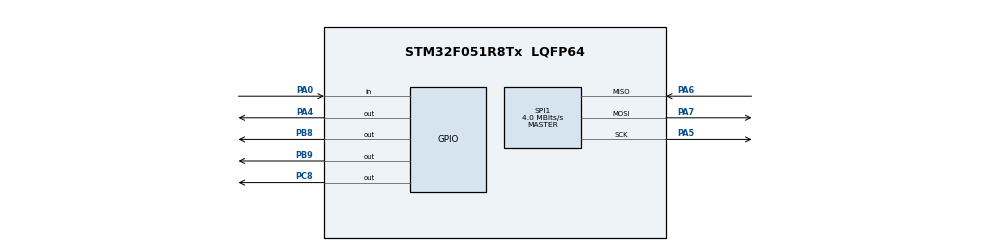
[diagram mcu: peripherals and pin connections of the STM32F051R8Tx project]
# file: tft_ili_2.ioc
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Dma.Request0=SPI1_TX
Dma.SPI1_TX.0.Direction=DMA_MEMORY_TO_PERIPH
Dma.SPI1_TX.0.Instance=DMA1_Channel3
Dma.SPI1_TX.0.MemDataAlignment=DMA_MDATAALIGN_BYTE
Dma.SPI1_TX.0.MemInc=DMA_MINC_ENABLE
Dma.SPI1_TX.0.Mode=DMA_NORMAL
Dma.SPI1_TX.0.PeriphDataAlignment=DMA_PDATAALIGN_BYTE
Dma.SPI1_TX.0.PeriphInc=DMA_PINC_DISABLE
Dma.SPI1_TX.0.Priority=DMA_PRIORITY_LOW
Mcu.Family=STM32F0
Mcu.Name=STM32F051R8Tx
Mcu.Package=LQFP64
NVIC.DMA1_Channel2_3_IRQn=true\:0\:0\:false\:false\:true\:false\:true\:true
NVIC.SPI1_IRQn=true\:0\:0\:false\:false\:true\:true\:true\:true
PA0.GPIO_PuPd=GPIO_PULLDOWN
PA0.Signal=GPIO_Input
PA13.Mode=Serial_Wire
PA13.Signal=SYS_SWDIO
PA14.Mode=Serial_Wire
PA14.Signal=SYS_SWCLK
PA4.Signal=GPIO_Output
PA5.Mode=Full_Duplex_Master
PA5.Signal=SPI1_SCK
PA6.Mode=Full_Duplex_Master
PA6.Signal=SPI1_MISO
PA7.Mode=Full_Duplex_Master
PA7.Signal=SPI1_MOSI
PB8.Signal=GPIO_Output
PB9.Signal=GPIO_Output
PC8.Signal=GPIO_Output
ProjectManager.HeapSize=0x200
ProjectManager.StackSize=0x400
ProjectManager.TargetToolchain=STM32CubeIDE
SPI1.CalculateBaudRate=4.0 MBits/s
SPI1.DataSize=SPI_DATASIZE_8BIT
SPI1.Direction=SPI_DIRECTION_2LINES
SPI1.Mode=SPI_MODE_MASTER
SPI1.VirtualType=VM_MASTER
board=custom

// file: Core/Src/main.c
/* USER CODE BEGIN Header */
/**
  ******************************************************************************
  * @file           : main.c
  * @brief          : Main program body
  ******************************************************************************
  * @attention
  *
  * Copyright (c) 2024 STMicroelectronics.
  * All rights reserved.
  *
  * This software is licensed under terms that can be found in the LICENSE file
  * in the root directory of this software component.
  * If no LICENSE file comes with this software, it is provided AS-IS.
  *
  ******************************************************************************
  */
/* USER CODE END Header */
#include "main.h"

/* USER CODE BEGIN Includes */
#include "ili9341.h"
#include "fonts.h"
#include "testimg.h"
/* USER CODE END Includes */

SPI_HandleTypeDef hspi1;
DMA_HandleTypeDef hdma_spi1_tx;

void SystemClock_Config(void);
static void MX_GPIO_Init(void);
static void MX_DMA_Init(void);
static void MX_SPI1_Init(void);

int main(void)
{

  /* MCU Configuration--------------------------------------------------------*/

  /* Reset of all peripherals, Initializes the Flash interface and the Systick. */
  HAL_Init();

  /* USER CODE BEGIN Init */
  void greeting_init() {
	  ILI9341_FillScreen(ILI9341_BLACK);

	        for(int x = 0; x < ILI9341_WIDTH; x++) {
	            ILI9341_DrawPixel(x, 0, ILI9341_RED);
	            ILI9341_DrawPixel(x, ILI9341_HEIGHT-1, ILI9341_RED);
	        }

	        for(int y = 0; y < ILI9341_HEIGHT; y++) {
	            ILI9341_DrawPixel(0, y, ILI9341_RED);
	            ILI9341_DrawPixel(ILI9341_WIDTH-1, y, ILI9341_RED);
	        }

	        HAL_Delay(500);

	        ILI9341_WriteString(2, 72, "Press the button to see variants", Font_7x10, ILI9341_GREEN, ILI9341_BLACK);
  }

  void init() {
      ILI9341_Unselect();
  //    ILI9341_TouchUnselect();
      ILI9341_Init();

      greeting_init();
  }

  void loop() {
    /*  if(HAL_SPI_DeInit(&hspi1) != HAL_OK) {
     //     UART_Printf("HAL_SPI_DeInit failed!\r\n");
          return;
      }

      hspi1.Init.BaudRatePrescaler = SPI_BAUDRATEPRESCALER_2;

      if(HAL_SPI_Init(&hspi1) != HAL_OK) {
       //   UART_Printf("HAL_SPI_Init failed!\r\n");
          return;
      }*/

      // Check border
      ILI9341_FillScreen(ILI9341_BLACK);

      for(int x = 0; x < ILI9341_WIDTH; x++) {
          ILI9341_DrawPixel(x, 0, ILI9341_RED);
          ILI9341_DrawPixel(x, ILI9341_HEIGHT-1, ILI9341_RED);
      }

      for(int y = 0; y < ILI9341_HEIGHT; y++) {
          ILI9341_DrawPixel(0, y, ILI9341_RED);
          ILI9341_DrawPixel(ILI9341_WIDTH-1, y, ILI9341_RED);
      }

      HAL_Delay(500);

      ILI9341_WriteString(2, 76, "Press the button to see all images", Font_7x10, ILI9341_GREEN, ILI9341_BLACK);

      HAL_Delay(3000);

      // Check fonts
      ILI9341_FillScreen(ILI9341_BLACK);
      ILI9341_WriteString(0, 0, "Font_7x10, red on black, lorem ipsum dolor sit amet", Font_7x10, ILI9341_RED, ILI9341_BLACK);
      ILI9341_WriteString(0, 3*10, "Font_11x18, green, lorem ipsum dolor sit amet", Font_11x18, ILI9341_GREEN, ILI9341_BLACK);
      ILI9341_WriteString(0, 3*10+3*18, "Font_16x26, blue, lorem ipsum dolor sit amet", Font_16x26, ILI9341_BLUE, ILI9341_BLACK);

      HAL_Delay(1000);
      ILI9341_InvertColors(true);
      HAL_Delay(1000);
      ILI9341_InvertColors(false);

      HAL_Delay(5000);

      // Check colors
      ILI9341_FillScreen(ILI9341_WHITE);
      ILI9341_WriteString(0, 20, "WHITE", Font_11x18, ILI9341_BLACK, ILI9341_RED);
      HAL_Delay(500);

      ILI9341_FillScreen(ILI9341_BLUE);
      ILI9341_WriteString(0, 0, "BLUE", Font_11x18, ILI9341_BLACK, ILI9341_BLUE);
      HAL_Delay(500);

      ILI9341_FillScreen(ILI9341_RED);
      ILI9341_WriteString(0, 0, "RED", Font_11x18, ILI9341_BLACK, ILI9341_RED);
      HAL_Delay(500);

      ILI9341_FillScreen(ILI9341_GREEN);
      ILI9341_WriteString(0, 0, "GREEN", Font_11x18, ILI9341_BLACK, ILI9341_GREEN);
      HAL_Delay(500);

      ILI9341_FillScreen(ILI9341_CYAN);
      ILI9341_WriteString(0, 0, "CYAN", Font_11x18, ILI9341_BLACK, ILI9341_CYAN);
      HAL_Delay(500);

      ILI9341_FillScreen(ILI9341_MAGENTA);
      ILI9341_WriteString(0, 0, "MAGENTA", Font_11x18, ILI9341_BLACK, ILI9341_MAGENTA);
      HAL_Delay(500);

      ILI9341_FillScreen(ILI9341_YELLOW);
      ILI9341_WriteString(0, 0, "YELLOW", Font_11x18, ILI9341_BLACK, ILI9341_YELLOW);
      HAL_Delay(500);

      ILI9341_FillScreen(ILI9341_BLACK);
      ILI9341_WriteString(0, 0, "BLACK", Font_11x18, ILI9341_WHITE, ILI9341_BLACK);
      HAL_Delay(500);

      ILI9341_DrawImage((ILI9341_WIDTH - 120) / 2, (ILI9341_HEIGHT - 64) / 2, 120, 60, (const uint16_t*)test_img_240x240);

      HAL_Delay(5000);

      ILI9341_FillScreen(ILI9341_BLACK);
      ILI9341_WriteString(0, 0, "Touchpad test.  Draw something!", Font_11x18, ILI9341_WHITE, ILI9341_BLACK);
      HAL_Delay(1000);
      ILI9341_FillScreen(ILI9341_BLACK);

   /*   if(HAL_SPI_DeInit(&hspi1) != HAL_OK) {
     //     UART_Printf("HAL_SPI_DeInit failed!\r\n");
          return;
      }*/

      hspi1.Init.BaudRatePrescaler = SPI_BAUDRATEPRESCALER_128;

     /* if(HAL_SPI_Init(&hspi1) != HAL_OK) {
       //   UART_Printf("HAL_SPI_Init failed!\r\n");
          return;
      }*/

    //  int npoints = 0;
     /* while(npoints < 10000) {
          uint16_t x, y;

       /*   if(ILI9341_TouchGetCoordinates(&x, &y))
          {
              ILI9341_DrawPixel(x, 320-y, ILI9341_WHITE);
              npoints++;
          }

      }*/
  }
  /* USER CODE END Init */

  /* Configure the system clock */
  SystemClock_Config();

  /* Initialize all configured peripherals */
  MX_GPIO_Init();
  MX_DMA_Init();
  MX_SPI1_Init();
  /* USER CODE BEGIN 2 */
  init();

  void handler_click(int num) {
	  switch ( num ) {
	  case 1:
	    // Check fonts
        ILI9341_FillScreen(ILI9341_BLACK);
        ILI9341_WriteString(0, 0, "Font_7x10, red on black, lorem ipsum dolor sit amet", Font_7x10, ILI9341_RED, ILI9341_BLACK);
        ILI9341_WriteString(0, 3*10, "Font_11x18, green, lorem ipsum dolor sit amet", Font_11x18, ILI9341_GREEN, ILI9341_BLACK);
        ILI9341_WriteString(0, 3*10+3*18, "Font_16x26, blue, lorem ipsum dolor sit amet", Font_16x26, ILI9341_BLUE, ILI9341_BLACK);

        HAL_Delay(1000);
        ILI9341_InvertColors(true);
        HAL_Delay(1000);
        ILI9341_InvertColors(false);
	    break;
	  case 2:
	    // Check colors
        ILI9341_FillScreen(ILI9341_WHITE);
        ILI9341_WriteString(0, 20, "WHITE", Font_11x18, ILI9341_BLACK, ILI9341_RED);
        HAL_Delay(500);

        ILI9341_FillScreen(ILI9341_BLUE);
        ILI9341_WriteString(0, 0, "BLUE", Font_11x18, ILI9341_BLACK, ILI9341_BLUE);
        HAL_Delay(500);

        ILI9341_FillScreen(ILI9341_RED);
        ILI9341_WriteString(0, 0, "RED", Font_11x18, ILI9341_BLACK, ILI9341_RED);
        HAL_Delay(500);

        ILI9341_FillScreen(ILI9341_GREEN);
        ILI9341_WriteString(0, 0, "GREEN", Font_11x18, ILI9341_BLACK, ILI9341_GREEN);
        HAL_Delay(500);

        ILI9341_FillScreen(ILI9341_CYAN);
        ILI9341_WriteString(0, 0, "CYAN", Font_11x18, ILI9341_BLACK, ILI9341_CYAN);
        HAL_Delay(500);

        ILI9341_FillScreen(ILI9341_MAGENTA);
        ILI9341_WriteString(0, 0, "MAGENTA", Font_11x18, ILI9341_BLACK, ILI9341_MAGENTA);
        HAL_Delay(500);

        ILI9341_FillScreen(ILI9341_YELLOW);
        ILI9341_WriteString(0, 0, "YELLOW", Font_11x18, ILI9341_BLACK, ILI9341_YELLOW);
        HAL_Delay(500);

        ILI9341_FillScreen(ILI9341_BLACK);
        ILI9341_WriteString(0, 0, "BLACK", Font_11x18, ILI9341_WHITE, ILI9341_BLACK);
        HAL_Delay(500);
	    break;
	  case 3:
	    // Check image
		ILI9341_FillScreen(ILI9341_BLACK);
		ILI9341_DrawImage((ILI9341_WIDTH - 120) / 2, (ILI9341_HEIGHT - 64) / 2, 120, 60, (const uint16_t*)test_img_240x240);
		HAL_Delay(500);
	    break;
	  }
    }
  /* USER CODE END 2 */

  /* Infinite loop */
  /* USER CODE BEGIN WHILE */
  int flag = 0;
  while (1)
  {
	 // loop();
    /* USER CODE END WHILE */

    /* USER CODE BEGIN 3 */
	if ( HAL_GPIO_ReadPin(GPIOA, GPIO_PIN_0) ) {
		flag ++;
			if (flag == 4) {
				flag = 1;
			}

		handler_click(flag);
		HAL_Delay(200);
		greeting_init();
	}

  }
  /* USER CODE END 3 */
}

void SystemClock_Config(void)
{
  RCC_OscInitTypeDef RCC_OscInitStruct = {0};
  RCC_ClkInitTypeDef RCC_ClkInitStruct = {0};

  /** Initializes the RCC Oscillators according to the specified parameters
  * in the RCC_OscInitTypeDef structure.
  */
  RCC_OscInitStruct.OscillatorType = RCC_OSCILLATORTYPE_HSI;
  RCC_OscInitStruct.HSIState = RCC_HSI_ON;
  RCC_OscInitStruct.HSICalibrationValue = RCC_HSICALIBRATION_DEFAULT;
  RCC_OscInitStruct.PLL.PLLState = RCC_PLL_NONE;
  if (HAL_RCC_OscConfig(&RCC_OscInitStruct) != HAL_OK)
  {
    Error_Handler();
  }

  /** Initializes the CPU, AHB and APB buses clocks
  */
  RCC_ClkInitStruct.ClockType = RCC_CLOCKTYPE_HCLK|RCC_CLOCKTYPE_SYSCLK
                              |RCC_CLOCKTYPE_PCLK1;
  RCC_ClkInitStruct.SYSCLKSource = RCC_SYSCLKSOURCE_HSI;
  RCC_ClkInitStruct.AHBCLKDivider = RCC_SYSCLK_DIV1;
  RCC_ClkInitStruct.APB1CLKDivider = RCC_HCLK_DIV1;

  if (HAL_RCC_ClockConfig(&RCC_ClkInitStruct, FLASH_LATENCY_0) != HAL_OK)
  {
    Error_Handler();
  }
}

static void MX_SPI1_Init(void)
{

  /* SPI1 parameter configuration*/
  hspi1.Instance = SPI1;
  hspi1.Init.Mode = SPI_MODE_MASTER;
  hspi1.Init.Direction = SPI_DIRECTION_2LINES;
  hspi1.Init.DataSize = SPI_DATASIZE_8BIT;
  hspi1.Init.CLKPolarity = SPI_POLARITY_LOW;
  hspi1.Init.CLKPhase = SPI_PHASE_1EDGE;
  hspi1.Init.NSS = SPI_NSS_SOFT;
  hspi1.Init.BaudRatePrescaler = SPI_BAUDRATEPRESCALER_2;
  hspi1.Init.FirstBit = SPI_FIRSTBIT_MSB;
  hspi1.Init.TIMode = SPI_TIMODE_DISABLE;
  hspi1.Init.CRCCalculation = SPI_CRCCALCULATION_DISABLE;
  hspi1.Init.CRCPolynomial = 7;
  hspi1.Init.CRCLength = SPI_CRC_LENGTH_DATASIZE;
  hspi1.Init.NSSPMode = SPI_NSS_PULSE_ENABLE;
  if (HAL_SPI_Init(&hspi1) != HAL_OK)
  {
    Error_Handler();
  }

}

static void MX_DMA_Init(void)
{

  /* DMA controller clock enable */
  __HAL_RCC_DMA1_CLK_ENABLE();

  /* DMA interrupt init */
  /* DMA1_Channel2_3_IRQn interrupt configuration */
  HAL_NVIC_SetPriority(DMA1_Channel2_3_IRQn, 0, 0);
  HAL_NVIC_EnableIRQ(DMA1_Channel2_3_IRQn);

}

static void MX_GPIO_Init(void)
{
  GPIO_InitTypeDef GPIO_InitStruct = {0};

  /* GPIO Ports Clock Enable */
  __HAL_RCC_GPIOA_CLK_ENABLE();
  __HAL_RCC_GPIOC_CLK_ENABLE();
  __HAL_RCC_GPIOB_CLK_ENABLE();

  /*Configure GPIO pin Output Level */
  HAL_GPIO_WritePin(GPIOA, GPIO_PIN_4, GPIO_PIN_RESET);

  /*Configure GPIO pin Output Level */
  HAL_GPIO_WritePin(GPIOC, GPIO_PIN_8, GPIO_PIN_RESET);

  /*Configure GPIO pin Output Level */
  HAL_GPIO_WritePin(GPIOB, GPIO_PIN_8|GPIO_PIN_9, GPIO_PIN_RESET);

  /*Configure GPIO pin : PA0 */
  GPIO_InitStruct.Pin = GPIO_PIN_0;
  GPIO_InitStruct.Mode = GPIO_MODE_INPUT;
  GPIO_InitStruct.Pull = GPIO_PULLDOWN;
  HAL_GPIO_Init(GPIOA, &GPIO_InitStruct);

  /*Configure GPIO pin : PA4 */
  GPIO_InitStruct.Pin = GPIO_PIN_4;
  GPIO_InitStruct.Mode = GPIO_MODE_OUTPUT_PP;
  GPIO_InitStruct.Pull = GPIO_NOPULL;
  GPIO_InitStruct.Speed = GPIO_SPEED_FREQ_LOW;
  HAL_GPIO_Init(GPIOA, &GPIO_InitStruct);

  /*Configure GPIO pin : PC8 */
  GPIO_InitStruct.Pin = GPIO_PIN_8;
  GPIO_InitStruct.Mode = GPIO_MODE_OUTPUT_PP;
  GPIO_InitStruct.Pull = GPIO_NOPULL;
  GPIO_InitStruct.Speed = GPIO_SPEED_FREQ_LOW;
  HAL_GPIO_Init(GPIOC, &GPIO_InitStruct);

  /*Configure GPIO pins : PB8 PB9 */
  GPIO_InitStruct.Pin = GPIO_PIN_8|GPIO_PIN_9;
  GPIO_InitStruct.Mode = GPIO_MODE_OUTPUT_PP;
  GPIO_InitStruct.Pull = GPIO_NOPULL;
  GPIO_InitStruct.Speed = GPIO_SPEED_FREQ_LOW;
  HAL_GPIO_Init(GPIOB, &GPIO_InitStruct);

}

void Error_Handler(void)
{
  __disable_irq();
  while (1)
  {
  }
}
